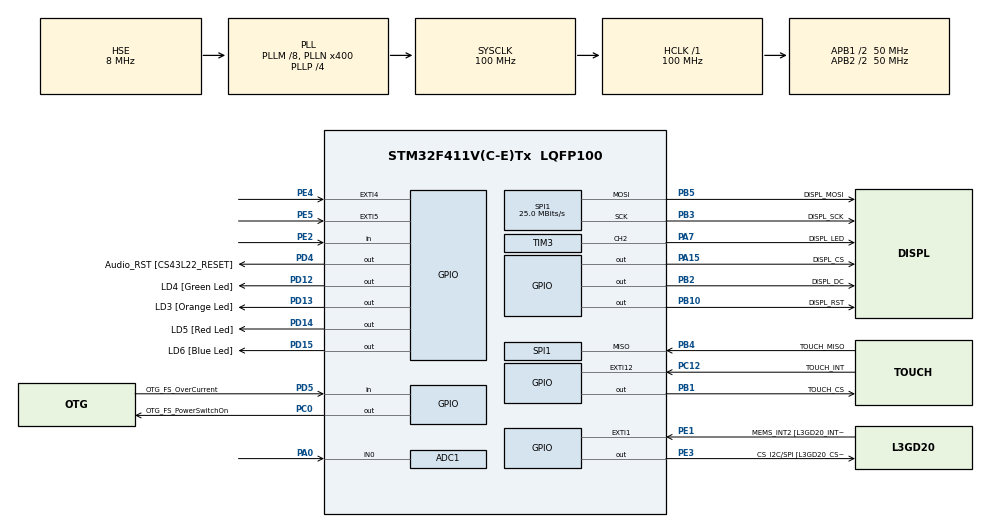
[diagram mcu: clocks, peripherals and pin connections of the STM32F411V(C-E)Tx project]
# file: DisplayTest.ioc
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ADC1.Channel-0\#ChannelRegularConversion=ADC_CHANNEL_0
ADC1.DMAContinuousRequests=ENABLE
ADC1.ExternalTrigConv=ADC_EXTERNALTRIGCONV_T2_TRGO
ADC1.NbrOfConversionFlag=1
ADC1.Rank-0\#ChannelRegularConversion=1
ADC1.SamplingTime-0\#ChannelRegularConversion=ADC_SAMPLETIME_3CYCLES
ADC1.master=1
Dma.ADC1.1.Direction=DMA_PERIPH_TO_MEMORY
Dma.ADC1.1.FIFOMode=DMA_FIFOMODE_DISABLE
Dma.ADC1.1.Instance=DMA2_Stream0
Dma.ADC1.1.MemDataAlignment=DMA_MDATAALIGN_HALFWORD
Dma.ADC1.1.MemInc=DMA_MINC_ENABLE
Dma.ADC1.1.Mode=DMA_NORMAL
Dma.ADC1.1.PeriphDataAlignment=DMA_PDATAALIGN_HALFWORD
Dma.ADC1.1.PeriphInc=DMA_PINC_DISABLE
Dma.ADC1.1.Priority=DMA_PRIORITY_HIGH
Dma.Request0=SPI1_TX
Dma.Request1=ADC1
Dma.SPI1_TX.0.Direction=DMA_MEMORY_TO_PERIPH
Dma.SPI1_TX.0.FIFOMode=DMA_FIFOMODE_DISABLE
Dma.SPI1_TX.0.Instance=DMA2_Stream2
Dma.SPI1_TX.0.MemDataAlignment=DMA_MDATAALIGN_BYTE
Dma.SPI1_TX.0.MemInc=DMA_MINC_ENABLE
Dma.SPI1_TX.0.Mode=DMA_NORMAL
Dma.SPI1_TX.0.PeriphDataAlignment=DMA_PDATAALIGN_BYTE
Dma.SPI1_TX.0.PeriphInc=DMA_PINC_DISABLE
Dma.SPI1_TX.0.Priority=DMA_PRIORITY_VERY_HIGH
Mcu.Family=STM32F4
Mcu.Name=STM32F411V(C-E)Tx
Mcu.Package=LQFP100
NVIC.ADC_IRQn=true\:0\:0\:false\:false\:true\:true\:true\:true
NVIC.DMA2_Stream0_IRQn=true\:0\:0\:false\:false\:true\:false\:true\:true
NVIC.DMA2_Stream2_IRQn=true\:0\:0\:false\:false\:true\:false\:true\:true
NVIC.EXTI15_10_IRQn=true\:0\:0\:true\:false\:true\:true\:true\:true
NVIC.PriorityGroup=NVIC_PRIORITYGROUP_0
NVIC.SPI1_IRQn=true\:0\:0\:false\:false\:true\:true\:true\:true
NVIC.TIM2_IRQn=true\:0\:0\:false\:false\:true\:true\:true\:true
NVIC.TIM3_IRQn=true\:0\:0\:false\:false\:true\:true\:true\:true
PA0-WKUP.Signal=ADCx_IN0
PA10.GPIO_Label=OTG_FS_ID
PA10.Signal=USB_OTG_FS_ID
PA11.GPIO_Label=OTG_FS_DM
PA11.Signal=USB_OTG_FS_DM
PA13.GPIO_Label=SWDIO
PA13.Signal=SYS_JTMS-SWDIO
PA14.GPIO_Label=SWCLK
PA14.Signal=SYS_JTCK-SWCLK
PA15.GPIO_Label=DISPL_CS
PA15.GPIO_Speed=GPIO_SPEED_FREQ_HIGH
PA15.PinState=GPIO_PIN_SET
PA15.Signal=GPIO_Output
PA4.GPIO_Label=I2S3_WS [CS43L22_LRCK]
PA4.GPIO_Mode=GPIO_MODE_AF_PP
PA4.GPIO_PuPd=GPIO_NOPULL
PA4.GPIO_Speed=GPIO_SPEED_FREQ_LOW
PA4.Signal=I2S3_WS
PA7.GPIO_Label=DISPL_LED
PA7.Signal=S_TIM3_CH2
PA9.GPIO_Label=VBUS_FS
PA9.Signal=USB_OTG_FS_VBUS
PB1.GPIO_Label=TOUCH_CS
PB1.GPIO_Speed=GPIO_SPEED_FREQ_HIGH
PB1.PinState=GPIO_PIN_SET
PB1.Signal=GPIO_Output
PB10.GPIO_Label=DISPL_RST
PB10.Signal=GPIO_Output
PB12.Signal=I2S2_WS
PB2.GPIO_Label=DISPL_DC
PB2.GPIO_Speed=GPIO_SPEED_FREQ_HIGH
PB2.Signal=GPIO_Output
PB3.GPIO_Label=DISPL_SCK
PB3.Mode=Full_Duplex_Master
PB3.Signal=SPI1_SCK
PB4.GPIO_Label=TOUCH_MISO
PB4.Mode=Full_Duplex_Master
PB4.Signal=SPI1_MISO
PB5.GPIO_Label=DISPL_MOSI
PB5.Mode=Full_Duplex_Master
PB5.Signal=SPI1_MOSI
PB6.GPIO_Label=Audio_SCL [CS43L22_SCL]
PB6.GPIO_Mode=GPIO_MODE_AF_OD
PB6.GPIO_PuPd=GPIO_NOPULL
PB6.GPIO_Speed=GPIO_SPEED_FREQ_LOW
PB6.Signal=I2C1_SCL
PB9.GPIO_Label=Audio_SDA [CS43L22_SDA]
PB9.GPIO_Mode=GPIO_MODE_AF_OD
PB9.GPIO_PuPd=GPIO_NOPULL
PB9.GPIO_Speed=GPIO_SPEED_FREQ_LOW
PB9.Signal=I2C1_SDA
PC0.GPIO_Label=OTG_FS_PowerSwitchOn
PC0.PinState=GPIO_PIN_SET
PC0.Signal=GPIO_Output
PC10.GPIO_Label=I2S3_SCK [CS43L22_SCLK]
PC10.GPIO_Mode=GPIO_MODE_AF_PP
PC10.GPIO_PuPd=GPIO_NOPULL
PC10.GPIO_Speed=GPIO_SPEED_FREQ_LOW
PC10.Signal=I2S3_CK
PC12.GPIO_Label=TOUCH_INT
PC12.GPIO_ModeDefaultEXTI=GPIO_MODE_IT_FALLING
PC12.GPIO_PuPd=GPIO_PULLUP
PC12.Signal=GPXTI12
PC14-OSC32_IN.GPIO_Label=PC14-OSC32_IN
PC14-OSC32_IN.Signal=RCC_OSC32_IN
PC15-OSC32_OUT.GPIO_Label=PC15-OSC32_OUT
PC15-OSC32_OUT.Signal=RCC_OSC32_OUT
PC3.GPIO_Label=PDM_OUT [MP45DT02_DOUT]
PC3.Signal=I2S2_SD
PC7.GPIO_Label=I2S3_MCK [CS43L22_MCLK]
PC7.GPIO_Mode=GPIO_MODE_AF_PP
PC7.GPIO_PuPd=GPIO_NOPULL
PC7.GPIO_Speed=GPIO_SPEED_FREQ_LOW
PC7.Signal=I2S3_MCK
PD12.GPIO_Label=LD4 [Green Led]
PD12.GPIO_PuPd=GPIO_NOPULL
PD12.GPIO_Speed=GPIO_SPEED_FREQ_LOW
PD12.Signal=GPIO_Output
PD13.GPIO_Label=LD3 [Orange Led]
PD13.GPIO_PuPd=GPIO_NOPULL
PD13.GPIO_Speed=GPIO_SPEED_FREQ_LOW
PD13.Signal=GPIO_Output
PD14.GPIO_Label=LD5 [Red Led]
PD14.GPIO_PuPd=GPIO_NOPULL
PD14.GPIO_Speed=GPIO_SPEED_FREQ_LOW
PD14.Signal=GPIO_Output
PD15.GPIO_Label=LD6 [Blue Led]
PD15.GPIO_PuPd=GPIO_NOPULL
PD15.GPIO_Speed=GPIO_SPEED_FREQ_LOW
PD15.Signal=GPIO_Output
PD4.GPIO_Label=Audio_RST [CS43L22_RESET]
PD4.Signal=GPIO_Output
PD5.GPIO_Label=OTG_FS_OverCurrent
PD5.Signal=GPIO_Input
PE1.GPIO_Label=MEMS_INT2 [L3GD20_INT2]
PE1.GPIO_ModeDefaultEXTI=GPIO_MODE_EVT_RISING
PE1.Signal=GPXTI1
PE2.Signal=GPIO_Input
PE3.GPIO_Label=CS_I2C/SPI [L3GD20_CS_I2C/SPI]
PE3.Signal=GPIO_Output
PE4.GPIO_ModeDefaultEXTI=GPIO_MODE_EVT_RISING
PE4.Signal=GPXTI4
PE5.GPIO_ModeDefaultEXTI=GPIO_MODE_EVT_RISING
PE5.Signal=GPXTI5
PH0\ -\ OSC_IN.GPIO_Label=PH0-OSC_IN
PH0\ -\ OSC_IN.Mode=HSE-External-Oscillator
PH0\ -\ OSC_IN.Signal=RCC_OSC_IN
PH1\ -\ OSC_OUT.GPIO_Label=PH1-OSC_OUT
PH1\ -\ OSC_OUT.Mode=HSE-External-Oscillator
PH1\ -\ OSC_OUT.Signal=RCC_OSC_OUT
ProjectManager.HeapSize=0x200
ProjectManager.StackSize=0x400
ProjectManager.TargetToolchain=STM32CubeIDE
RCC.48MHZClocksFreq_Value=50000000
RCC.AHBFreq_Value=100000000
RCC.APB1CLKDivider=RCC_HCLK_DIV2
RCC.APB1Freq_Value=50000000
RCC.APB1TimFreq_Value=100000000
RCC.APB2CLKDivider=RCC_HCLK_DIV2
RCC.APB2Freq_Value=50000000
RCC.APB2TimFreq_Value=100000000
RCC.CortexFreq_Value=100000000
RCC.HCLKFreq_Value=100000000
RCC.HSE_VALUE=8000000
RCC.HSI_VALUE=16000000
RCC.LSE_VALUE=32768
RCC.PLLI2SM=5
RCC.PLLI2SN=200
RCC.PLLM=8
RCC.PLLN=400
RCC.PLLP=RCC_PLLP_DIV4
RCC.PLLQ=8
RCC.PLLSourceVirtual=RCC_PLLSOURCE_HSE
RCC.SYSCLKFreq_VALUE=100000000
RCC.SYSCLKSource=RCC_SYSCLKSOURCE_PLLCLK
RCC.VCOOutputFreq_Value=400000000
SH.ADCx_IN0.0=ADC1_IN0,IN0
SH.S_TIM3_CH2.0=TIM3_CH2,PWM Generation2 CH2
SPI1.CalculateBaudRate=25.0 MBits/s
SPI1.Direction=SPI_DIRECTION_2LINES
SPI1.Mode=SPI_MODE_MASTER
SPI1.VirtualType=VM_MASTER
STMicroelectronics.X-CUBE-TOUCHGFX.4.26.0.tgfx_buffering_strategy=Single
STMicroelectronics.X-CUBE-TOUCHGFX.4.26.0.tgfx_custom_height=480
STMicroelectronics.X-CUBE-TOUCHGFX.4.26.0.tgfx_custom_width=320
STMicroelectronics.X-CUBE-TOUCHGFX.4.26.0_IsPackSelfContextualization=true
TIM2.Period=159
TIM2.Prescaler=83
TIM2.TIM_MasterOutputTrigger=TIM_TRGO_UPDATE
TIM3.Channel-PWM\ Generation2\ CH2=TIM_CHANNEL_2
TIM3.Period=100
TIM3.Prescaler=10000
VP_CRC_VS_CRC.Mode=CRC_Activate
VP_TIM2_VS_ClockSourceINT.Mode=Internal
board=STM32F411E-DISCO

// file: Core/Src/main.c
/* USER CODE BEGIN Header */
/**
  ******************************************************************************
  * @file           : main.c
  * @brief          : Main program body
  ******************************************************************************
  * @attention
  *
  * Copyright (c) 2025 STMicroelectronics.
  * All rights reserved.
  *
  * This software is licensed under terms that can be found in the LICENSE file
  * in the root directory of this software component.
  * If no LICENSE file comes with this software, it is provided AS-IS.
  *
  ******************************************************************************
  */
/* USER CODE END Header */
#include "main.h"

/* USER CODE BEGIN Includes */
#include "math.h"
/* USER CODE END Includes */

ADC_HandleTypeDef hadc1;
DMA_HandleTypeDef hdma_adc1;

CRC_HandleTypeDef hcrc;

SPI_HandleTypeDef hspi1;
DMA_HandleTypeDef hdma_spi1_tx;

TIM_HandleTypeDef htim2;
TIM_HandleTypeDef htim3;

void SystemClock_Config(void);
static void MX_GPIO_Init(void);
static void MX_DMA_Init(void);
static void MX_SPI1_Init(void);
static void MX_CRC_Init(void);
static void MX_TIM3_Init(void);
static void MX_TIM2_Init(void);
static void MX_ADC1_Init(void);

/* USER CODE BEGIN 0 */
/* USER CODE BEGIN 0 */
extern uint8_t needs_full_redraw;
// Sample rate: 1ms per sample = 1000 Hz
#define SAMPLE_RATE 1000.0f
#define TWO_PI 6.28318530718f

// Test signal generator function - IMPROVED VERSION
float OSC_GenerateTestSignal(uint16_t index, uint8_t signal_type) {
    float t = (float)index / SAMPLE_RATE;  // Time in seconds
    float voltage = 1.65f; // Ground reference (adjust via GND button if needed)

    switch(signal_type) {
        case 0: // Pure Sine Wave - 10Hz
        {
            float freq = 10.0f;
            voltage = 1.65f + 0.8f * sinf(TWO_PI * freq * t);
        }
        break;

        case 1: // Square Wave - 10Hz, 50% duty cycle
        {
            float period_ms = 100.0f;  // 10Hz = 100ms period
            float phase = fmodf((float)index, period_ms);
            voltage = (phase < (period_ms / 2.0f)) ? 2.5f : 0.8f;
        }
        break;

        case 2: // Triangle Wave - 10Hz
        {
            float freq = 10.0f;
            float period_samples = SAMPLE_RATE / freq;
            float phase = fmodf((float)index, period_samples);

            if(phase < period_samples / 2.0f) {
                // Rising edge
                voltage = 1.25f + (phase / (period_samples / 2.0f)) * 0.8f;
            } else {
                // Falling edge
                voltage = 2.05f - ((phase - period_samples / 2.0f) / (period_samples / 2.0f)) * 0.8f;
            }
        }
        break;

        case 3: // Sawtooth Wave - 10Hz
        {
            float freq = 10.0f;
            float period_samples = SAMPLE_RATE / freq;
            float phase = fmodf((float)index, period_samples);
            voltage = 0.8f + (phase / period_samples) * 1.7f;
        }
        break;

        case 4: // Pulse (Digital) - 5Hz, 10% duty
        {
            float period_ms = 200.0f;  // 5Hz = 200ms period
            float phase = fmodf((float)index, period_ms);
            voltage = (phase < 20.0f) ? 3.0f : 0.5f;
        }
        break;

        case 5: // Complex Waveform (Fundamental + 2nd & 3rd Harmonic)
        {
            float freq = 10.0f;
            voltage = 1.65f +
                      0.5f * sinf(TWO_PI * freq * t) +           // Fundamental
                      0.2f * sinf(TWO_PI * freq * 2.0f * t) +    // 2nd harmonic
                      0.1f * sinf(TWO_PI * freq * 3.0f * t);     // 3rd harmonic
        }
        break;

        case 6: // Noisy Sine - 10Hz with ±0.1V noise
        {
            float freq = 10.0f;
            float noise = ((rand() % 200) - 100) / 1000.0f;  // ±0.1V
            voltage = 1.65f + 0.8f * sinf(TWO_PI * freq * t) + noise;
        }
        break;

        case 7: // Exponential Decay (RC Circuit Simulation) - 5Hz
        {
            float period_ms = 200.0f;  // 5Hz
            float phase = fmodf((float)index, period_ms);

            if(phase < 5.0f) {
                // Short charge-up pulse
                voltage = 3.0f;
            } else {
                // Exponential decay (tau = 30ms)
                float decay_time = phase - 5.0f;
                voltage = 3.0f * expf(-decay_time / 30.0f);
            }
        }
        break;

        case 8: // PWM Signal - 1kHz, 25% duty (NEW!)
        {
            float period_ms = 1.0f;  // 1kHz
            float phase = fmodf((float)index, period_ms);
            voltage = (phase < 0.25f) ? 3.0f : 0.5f;
        }
        break;

        case 9: // Slow Ramp - 1Hz (NEW!)
        {
            float period_samples = SAMPLE_RATE * 1.0f;  // 1 second
            float phase = fmodf((float)index, period_samples);
            voltage = 0.5f + (phase / period_samples) * 2.5f;
        }
        break;

        default:
            voltage = 1.65f;  // DC level at ground
            break;
    }

    // Clamp to valid ADC range (0V to 3.3V)
    if(voltage < 0.0f) voltage = 0.0f;
    if(voltage > 3.3f) voltage = 3.3f;

    return voltage;
}

void OSC_DMA_ForceCircular(void)
{
    // Ensure DMA is in circular mode
    hdma_adc1.Init.Mode = DMA_CIRCULAR;
    if (HAL_DMA_Init(&hdma_adc1) != HAL_OK)
    {
        Error_Handler();
    }
    __HAL_LINKDMA(&hadc1, DMA_Handle, hdma_adc1);
}

#include "core_cm4.h"   // usually pulled in via stm32f4xx.h already, but harmless

void Timestamp_Init(void)
{
    // Enable DWT cycle counter
    CoreDebug->DEMCR |= CoreDebug_DEMCR_TRCENA_Msk;
    DWT->CYCCNT = 0;
    DWT->CTRL |= DWT_CTRL_CYCCNTENA_Msk;
}

/* USER CODE END 0 */

int main(void)
{

  /* MCU Configuration--------------------------------------------------------*/

  /* Reset of all peripherals, Initializes the Flash interface and the Systick. */
  HAL_Init();

  /* Configure the system clock */
  SystemClock_Config();

  Timestamp_Init();

  /* Initialize all configured peripherals */
  MX_GPIO_Init();
  MX_DMA_Init();
  MX_SPI1_Init();
  MX_CRC_Init();
  MX_TIM3_Init();
  MX_TIM2_Init();
  MX_ADC1_Init();
  /* USER CODE BEGIN 2 */
  OSC_DMA_ForceCircular();
//  HAL_TIM_Base_Start_IT(&htim2);
  Displ_Init(Displ_Orientat_90);			// initialize display controller - set orientation parameter as per TouchGFX setup
//  touchgfxSignalVSync();					// ask display syncronization
  Displ_BackLight('I');  					// initialize backlight
//  Displ_FillArea(0, 0, 10, 10, RED);
//  HAL_Delay(1000);
//  Displ_TestAll ();
//  Test_TouchInterrupt();
//  	Test_TouchSPI();
//  Touch_ShowData();
//  Touch_TestCalibration();
//  Touch_TestCalibration_Landscape();
//  Touch_TestDrawing();
//  Read_Raw_Touch_Values();
//  Verify_Touch_Calibration();
//  Displ_Init(Displ_Orientat_90);  // Landscape
  OSCP_Init();
  OSC_ADC_Init();
  OSCP_DrawUI();
  OSC_ADC_StartSampling(DEFAULT_SAMPLE_RATE_KHZ);
  // Start ADC using DMA
//  HAL_ADC_Start_DMA(&hadc1, (uint32_t*)oscPro.adc_buffer.raw, SAMPLES);

  // Start TIM4 (TRGO)
//  HAL_TIM_Base_Start(&htim2);
//  uint32_t sample_timer = HAL_GetTick();
//  uint16_t sample_index = 0;
//  uint8_t signal_type = 0;  // Change 0-9 to select different test signals
//  uint32_t last_signal_change = HAL_GetTick();
//  uint8_t auto_cycle = 0;  // Set to 1 to auto-cycle through signals every 5 seconds
//  OSC_ADC_StartSampling(DEFAULT_SAMPLE_RATE_KHZ);
//  Displ_PerfTest();
  /* USER CODE END 2 */

  /* Infinite loop */
  /* USER CODE BEGIN WHILE */
  while (1)
  {	    // Auto-cycle through signal types (optional)
	    // Check for touch input
	    OSCP_Update();

	    // Handle touch input
	    if(Touch_GotATouch(1)) {
	        uint16_t x, y;
	        uint8_t touched;
	        Touch_GetXYtouch(&x, &y, &touched);

	        if(touched) {
	            OSCP_HandleTouch(x, y);
	        }
	    }
	    HAL_Delay(10);  // Small delay to prevent CPU overload

	    // Small delay to prevent overwhelming the system
//	    HAL_Delay(10);
//	    if(auto_cycle && (HAL_GetTick() - last_signal_change) > 5000) {
//	        signal_type = (signal_type + 1) % 10;
//	        last_signal_change = HAL_GetTick();
//	    }
//
//	    // Generate test signal at 1ms intervals
//	    if((HAL_GetTick() - sample_timer) >= 1) {
//	        sample_timer = HAL_GetTick();
//
//	        float voltage = OSC_GenerateTestSignal(sample_index, signal_type);
//	        OSCP_AddSample(voltage);
//
//	        sample_index++;
//	        if(sample_index >= 10000) sample_index = 0;  // Reset every 10 seconds
//	    }
//
//	    // Touch handling
//	    uint16_t tx, ty;
//	    uint8_t touched;
//	    Touch_GetXYtouch(&tx, &ty, &touched);
//
//	    if(touched) {
//	        OSCP_HandleTouch(tx, ty);
//	        HAL_Delay(200);  // Debounce
//	    }
//
//	    // Update oscilloscope display
//	    OSCP_Update();
//
//	    HAL_Delay(1);
    /* USER CODE END WHILE */

  }
}

void SystemClock_Config(void)
{
  RCC_OscInitTypeDef RCC_OscInitStruct = {0};
  RCC_ClkInitTypeDef RCC_ClkInitStruct = {0};

  /** Configure the main internal regulator output voltage
  */
  __HAL_RCC_PWR_CLK_ENABLE();
  __HAL_PWR_VOLTAGESCALING_CONFIG(PWR_REGULATOR_VOLTAGE_SCALE1);

  /** Initializes the RCC Oscillators according to the specified parameters
  * in the RCC_OscInitTypeDef structure.
  */
  RCC_OscInitStruct.OscillatorType = RCC_OSCILLATORTYPE_HSE;
  RCC_OscInitStruct.HSEState = RCC_HSE_ON;
  RCC_OscInitStruct.PLL.PLLState = RCC_PLL_ON;
  RCC_OscInitStruct.PLL.PLLSource = RCC_PLLSOURCE_HSE;
  RCC_OscInitStruct.PLL.PLLM = 8;
  RCC_OscInitStruct.PLL.PLLN = 400;
  RCC_OscInitStruct.PLL.PLLP = RCC_PLLP_DIV4;
  RCC_OscInitStruct.PLL.PLLQ = 8;
  if (HAL_RCC_OscConfig(&RCC_OscInitStruct) != HAL_OK)
  {
    Error_Handler();
  }

  /** Initializes the CPU, AHB and APB buses clocks
  */
  RCC_ClkInitStruct.ClockType = RCC_CLOCKTYPE_HCLK|RCC_CLOCKTYPE_SYSCLK
                              |RCC_CLOCKTYPE_PCLK1|RCC_CLOCKTYPE_PCLK2;
  RCC_ClkInitStruct.SYSCLKSource = RCC_SYSCLKSOURCE_PLLCLK;
  RCC_ClkInitStruct.AHBCLKDivider = RCC_SYSCLK_DIV1;
  RCC_ClkInitStruct.APB1CLKDivider = RCC_HCLK_DIV2;
  RCC_ClkInitStruct.APB2CLKDivider = RCC_HCLK_DIV2;

  if (HAL_RCC_ClockConfig(&RCC_ClkInitStruct, FLASH_LATENCY_3) != HAL_OK)
  {
    Error_Handler();
  }
}

static void MX_ADC1_Init(void)
{

  ADC_ChannelConfTypeDef sConfig = {0};

  /** Configure the global features of the ADC (Clock, Resolution, Data Alignment and number of conversion)
  */
  hadc1.Instance = ADC1;
  hadc1.Init.ClockPrescaler = ADC_CLOCK_SYNC_PCLK_DIV2;
  hadc1.Init.Resolution = ADC_RESOLUTION_12B;
  hadc1.Init.ScanConvMode = DISABLE;
  hadc1.Init.ContinuousConvMode = DISABLE;
  hadc1.Init.DiscontinuousConvMode = DISABLE;
  hadc1.Init.ExternalTrigConvEdge = ADC_EXTERNALTRIGCONVEDGE_RISING;
  hadc1.Init.ExternalTrigConv = ADC_EXTERNALTRIGCONV_T2_TRGO;
  hadc1.Init.DataAlign = ADC_DATAALIGN_RIGHT;
  hadc1.Init.NbrOfConversion = 1;
  hadc1.Init.DMAContinuousRequests = ENABLE;
  hadc1.Init.EOCSelection = ADC_EOC_SINGLE_CONV;
  if (HAL_ADC_Init(&hadc1) != HAL_OK)
  {
    Error_Handler();
  }

  /** Configure for the selected ADC regular channel its corresponding rank in the sequencer and its sample time.
  */
  sConfig.Channel = ADC_CHANNEL_0;
  sConfig.Rank = 1;
  sConfig.SamplingTime = ADC_SAMPLETIME_3CYCLES;
  if (HAL_ADC_ConfigChannel(&hadc1, &sConfig) != HAL_OK)
  {
    Error_Handler();
  }

}

static void MX_CRC_Init(void)
{

  hcrc.Instance = CRC;
  if (HAL_CRC_Init(&hcrc) != HAL_OK)
  {
    Error_Handler();
  }

}

static void MX_SPI1_Init(void)
{

  /* SPI1 parameter configuration*/
  hspi1.Instance = SPI1;
  hspi1.Init.Mode = SPI_MODE_MASTER;
  hspi1.Init.Direction = SPI_DIRECTION_2LINES;
  hspi1.Init.DataSize = SPI_DATASIZE_8BIT;
  hspi1.Init.CLKPolarity = SPI_POLARITY_LOW;
  hspi1.Init.CLKPhase = SPI_PHASE_1EDGE;
  hspi1.Init.NSS = SPI_NSS_SOFT;
  hspi1.Init.BaudRatePrescaler = SPI_BAUDRATEPRESCALER_2;
  hspi1.Init.FirstBit = SPI_FIRSTBIT_MSB;
  hspi1.Init.TIMode = SPI_TIMODE_DISABLE;
  hspi1.Init.CRCCalculation = SPI_CRCCALCULATION_DISABLE;
  hspi1.Init.CRCPolynomial = 10;
  if (HAL_SPI_Init(&hspi1) != HAL_OK)
  {
    Error_Handler();
  }

}

static void MX_TIM2_Init(void)
{

  TIM_ClockConfigTypeDef sClockSourceConfig = {0};
  TIM_MasterConfigTypeDef sMasterConfig = {0};

  htim2.Instance = TIM2;
  htim2.Init.Prescaler = 83;
  htim2.Init.CounterMode = TIM_COUNTERMODE_UP;
  htim2.Init.Period = 159;
  htim2.Init.ClockDivision = TIM_CLOCKDIVISION_DIV1;
  htim2.Init.AutoReloadPreload = TIM_AUTORELOAD_PRELOAD_DISABLE;
  if (HAL_TIM_Base_Init(&htim2) != HAL_OK)
  {
    Error_Handler();
  }
  sClockSourceConfig.ClockSource = TIM_CLOCKSOURCE_INTERNAL;
  if (HAL_TIM_ConfigClockSource(&htim2, &sClockSourceConfig) != HAL_OK)
  {
    Error_Handler();
  }
  sMasterConfig.MasterOutputTrigger = TIM_TRGO_UPDATE;
  sMasterConfig.MasterSlaveMode = TIM_MASTERSLAVEMODE_DISABLE;
  if (HAL_TIMEx_MasterConfigSynchronization(&htim2, &sMasterConfig) != HAL_OK)
  {
    Error_Handler();
  }

}

static void MX_TIM3_Init(void)
{

  TIM_MasterConfigTypeDef sMasterConfig = {0};
  TIM_OC_InitTypeDef sConfigOC = {0};

  htim3.Instance = TIM3;
  htim3.Init.Prescaler = 10000;
  htim3.Init.CounterMode = TIM_COUNTERMODE_UP;
  htim3.Init.Period = 100;
  htim3.Init.ClockDivision = TIM_CLOCKDIVISION_DIV1;
  htim3.Init.AutoReloadPreload = TIM_AUTORELOAD_PRELOAD_DISABLE;
  if (HAL_TIM_PWM_Init(&htim3) != HAL_OK)
  {
    Error_Handler();
  }
  sMasterConfig.MasterOutputTrigger = TIM_TRGO_RESET;
  sMasterConfig.MasterSlaveMode = TIM_MASTERSLAVEMODE_DISABLE;
  if (HAL_TIMEx_MasterConfigSynchronization(&htim3, &sMasterConfig) != HAL_OK)
  {
    Error_Handler();
  }
  sConfigOC.OCMode = TIM_OCMODE_PWM1;
  sConfigOC.Pulse = 0;
  sConfigOC.OCPolarity = TIM_OCPOLARITY_HIGH;
  sConfigOC.OCFastMode = TIM_OCFAST_DISABLE;
  if (HAL_TIM_PWM_ConfigChannel(&htim3, &sConfigOC, TIM_CHANNEL_2) != HAL_OK)
  {
    Error_Handler();
  }
  HAL_TIM_MspPostInit(&htim3);

}

static void MX_DMA_Init(void)
{

  /* DMA controller clock enable */
  __HAL_RCC_DMA2_CLK_ENABLE();

  /* DMA interrupt init */
  /* DMA2_Stream0_IRQn interrupt configuration */
  HAL_NVIC_SetPriority(DMA2_Stream0_IRQn, 0, 0);
  HAL_NVIC_EnableIRQ(DMA2_Stream0_IRQn);
  /* DMA2_Stream2_IRQn interrupt configuration */
  HAL_NVIC_SetPriority(DMA2_Stream2_IRQn, 0, 0);
  HAL_NVIC_EnableIRQ(DMA2_Stream2_IRQn);

}

static void MX_GPIO_Init(void)
{
  GPIO_InitTypeDef GPIO_InitStruct = {0};

  /* GPIO Ports Clock Enable */
  __HAL_RCC_GPIOE_CLK_ENABLE();
  __HAL_RCC_GPIOC_CLK_ENABLE();
  __HAL_RCC_GPIOH_CLK_ENABLE();
  __HAL_RCC_GPIOA_CLK_ENABLE();
  __HAL_RCC_GPIOB_CLK_ENABLE();
  __HAL_RCC_GPIOD_CLK_ENABLE();

  /*Configure GPIO pin Output Level */
  HAL_GPIO_WritePin(CS_I2C_SPI_GPIO_Port, CS_I2C_SPI_Pin, GPIO_PIN_RESET);

  /*Configure GPIO pin Output Level */
  HAL_GPIO_WritePin(OTG_FS_PowerSwitchOn_GPIO_Port, OTG_FS_PowerSwitchOn_Pin, GPIO_PIN_SET);

  /*Configure GPIO pin Output Level */
  HAL_GPIO_WritePin(TOUCH_CS_GPIO_Port, TOUCH_CS_Pin, GPIO_PIN_SET);

  /*Configure GPIO pin Output Level */
  HAL_GPIO_WritePin(GPIOB, DISPL_DC_Pin|DISPL_RST_Pin, GPIO_PIN_RESET);

  /*Configure GPIO pin Output Level */
  HAL_GPIO_WritePin(GPIOD, LD4_Pin|LD3_Pin|LD5_Pin|LD6_Pin
                          |Audio_RST_Pin, GPIO_PIN_RESET);

  /*Configure GPIO pin Output Level */
  HAL_GPIO_WritePin(DISPL_CS_GPIO_Port, DISPL_CS_Pin, GPIO_PIN_SET);

  /*Configure GPIO pin : PE2 */
  GPIO_InitStruct.Pin = GPIO_PIN_2;
  GPIO_InitStruct.Mode = GPIO_MODE_INPUT;
  GPIO_InitStruct.Pull = GPIO_NOPULL;
  HAL_GPIO_Init(GPIOE, &GPIO_InitStruct);

  /*Configure GPIO pin : CS_I2C_SPI_Pin */
  GPIO_InitStruct.Pin = CS_I2C_SPI_Pin;
  GPIO_InitStruct.Mode = GPIO_MODE_OUTPUT_PP;
  GPIO_InitStruct.Pull = GPIO_NOPULL;
  GPIO_InitStruct.Speed = GPIO_SPEED_FREQ_LOW;
  HAL_GPIO_Init(CS_I2C_SPI_GPIO_Port, &GPIO_InitStruct);

  /*Configure GPIO pins : PE4 PE5 MEMS_INT2_Pin */
  GPIO_InitStruct.Pin = GPIO_PIN_4|GPIO_PIN_5|MEMS_INT2_Pin;
  GPIO_InitStruct.Mode = GPIO_MODE_EVT_RISING;
  GPIO_InitStruct.Pull = GPIO_NOPULL;
  HAL_GPIO_Init(GPIOE, &GPIO_InitStruct);

  /*Configure GPIO pin : OTG_FS_PowerSwitchOn_Pin */
  GPIO_InitStruct.Pin = OTG_FS_PowerSwitchOn_Pin;
  GPIO_InitStruct.Mode = GPIO_MODE_OUTPUT_PP;
  GPIO_InitStruct.Pull = GPIO_NOPULL;
  GPIO_InitStruct.Speed = GPIO_SPEED_FREQ_LOW;
  HAL_GPIO_Init(OTG_FS_PowerSwitchOn_GPIO_Port, &GPIO_InitStruct);

  /*Configure GPIO pin : PDM_OUT_Pin */
  GPIO_InitStruct.Pin = PDM_OUT_Pin;
  GPIO_InitStruct.Mode = GPIO_MODE_AF_PP;
  GPIO_InitStruct.Pull = GPIO_NOPULL;
  GPIO_InitStruct.Speed = GPIO_SPEED_FREQ_LOW;
  GPIO_InitStruct.Alternate = GPIO_AF5_SPI2;
  HAL_GPIO_Init(PDM_OUT_GPIO_Port, &GPIO_InitStruct);

  /*Configure GPIO pin : I2S3_WS_Pin */
  GPIO_InitStruct.Pin = I2S3_WS_Pin;
  GPIO_InitStruct.Mode = GPIO_MODE_AF_PP;
  GPIO_InitStruct.Pull = GPIO_NOPULL;
  GPIO_InitStruct.Speed = GPIO_SPEED_FREQ_LOW;
  GPIO_InitStruct.Alternate = GPIO_AF6_SPI3;
  HAL_GPIO_Init(I2S3_WS_GPIO_Port, &GPIO_InitStruct);

  /*Configure GPIO pins : TOUCH_CS_Pin DISPL_DC_Pin */
  GPIO_InitStruct.Pin = TOUCH_CS_Pin|DISPL_DC_Pin;
  GPIO_InitStruct.Mode = GPIO_MODE_OUTPUT_PP;
  GPIO_InitStruct.Pull = GPIO_NOPULL;
  GPIO_InitStruct.Speed = GPIO_SPEED_FREQ_HIGH;
  HAL_GPIO_Init(GPIOB, &GPIO_InitStruct);

  /*Configure GPIO pin : DISPL_RST_Pin */
  GPIO_InitStruct.Pin = DISPL_RST_Pin;
  GPIO_InitStruct.Mode = GPIO_MODE_OUTPUT_PP;
  GPIO_InitStruct.Pull = GPIO_NOPULL;
  GPIO_InitStruct.Speed = GPIO_SPEED_FREQ_LOW;
  HAL_GPIO_Init(DISPL_RST_GPIO_Port, &GPIO_InitStruct);

  /*Configure GPIO pin : PB12 */
  GPIO_InitStruct.Pin = GPIO_PIN_12;
  GPIO_InitStruct.Mode = GPIO_MODE_AF_PP;
  GPIO_InitStruct.Pull = GPIO_NOPULL;
  GPIO_InitStruct.Speed = GPIO_SPEED_FREQ_LOW;
  GPIO_InitStruct.Alternate = GPIO_AF5_SPI2;
  HAL_GPIO_Init(GPIOB, &GPIO_InitStruct);

  /*Configure GPIO pins : LD4_Pin LD3_Pin LD5_Pin LD6_Pin
                           Audio_RST_Pin */
  GPIO_InitStruct.Pin = LD4_Pin|LD3_Pin|LD5_Pin|LD6_Pin
                          |Audio_RST_Pin;
  GPIO_InitStruct.Mode = GPIO_MODE_OUTPUT_PP;
  GPIO_InitStruct.Pull = GPIO_NOPULL;
  GPIO_InitStruct.Speed = GPIO_SPEED_FREQ_LOW;
  HAL_GPIO_Init(GPIOD, &GPIO_InitStruct);

  /*Configure GPIO pins : I2S3_MCK_Pin I2S3_SCK_Pin */
  GPIO_InitStruct.Pin = I2S3_MCK_Pin|I2S3_SCK_Pin;
  GPIO_InitStruct.Mode = GPIO_MODE_AF_PP;
  GPIO_InitStruct.Pull = GPIO_NOPULL;
  GPIO_InitStruct.Speed = GPIO_SPEED_FREQ_LOW;
  GPIO_InitStruct.Alternate = GPIO_AF6_SPI3;
  HAL_GPIO_Init(GPIOC, &GPIO_InitStruct);

  /*Configure GPIO pin : VBUS_FS_Pin */
  GPIO_InitStruct.Pin = VBUS_FS_Pin;
  GPIO_InitStruct.Mode = GPIO_MODE_INPUT;
  GPIO_InitStruct.Pull = GPIO_NOPULL;
  HAL_GPIO_Init(VBUS_FS_GPIO_Port, &GPIO_InitStruct);

  /*Configure GPIO pins : OTG_FS_ID_Pin OTG_FS_DM_Pin */
  GPIO_InitStruct.Pin = OTG_FS_ID_Pin|OTG_FS_DM_Pin;
  GPIO_InitStruct.Mode = GPIO_MODE_AF_PP;
  GPIO_InitStruct.Pull = GPIO_NOPULL;
  GPIO_InitStruct.Speed = GPIO_SPEED_FREQ_VERY_HIGH;
  GPIO_InitStruct.Alternate = GPIO_AF10_OTG_FS;
  HAL_GPIO_Init(GPIOA, &GPIO_InitStruct);

  /*Configure GPIO pin : DISPL_CS_Pin */
  GPIO_InitStruct.Pin = DISPL_CS_Pin;
  GPIO_InitStruct.Mode = GPIO_MODE_OUTPUT_PP;
  GPIO_InitStruct.Pull = GPIO_NOPULL;
  GPIO_InitStruct.Speed = GPIO_SPEED_FREQ_HIGH;
  HAL_GPIO_Init(DISPL_CS_GPIO_Port, &GPIO_InitStruct);

  /*Configure GPIO pin : TOUCH_INT_Pin */
  GPIO_InitStruct.Pin = TOUCH_INT_Pin;
  GPIO_InitStruct.Mode = GPIO_MODE_IT_FALLING;
  GPIO_InitStruct.Pull = GPIO_PULLUP;
  HAL_GPIO_Init(TOUCH_INT_GPIO_Port, &GPIO_InitStruct);

  /*Configure GPIO pin : OTG_FS_OverCurrent_Pin */
  GPIO_InitStruct.Pin = OTG_FS_OverCurrent_Pin;
  GPIO_InitStruct.Mode = GPIO_MODE_INPUT;
  GPIO_InitStruct.Pull = GPIO_NOPULL;
  HAL_GPIO_Init(OTG_FS_OverCurrent_GPIO_Port, &GPIO_InitStruct);

  /*Configure GPIO pins : Audio_SCL_Pin Audio_SDA_Pin */
  GPIO_InitStruct.Pin = Audio_SCL_Pin|Audio_SDA_Pin;
  GPIO_InitStruct.Mode = GPIO_MODE_AF_OD;
  GPIO_InitStruct.Pull = GPIO_NOPULL;
  GPIO_InitStruct.Speed = GPIO_SPEED_FREQ_LOW;
  GPIO_InitStruct.Alternate = GPIO_AF4_I2C1;
  HAL_GPIO_Init(GPIOB, &GPIO_InitStruct);

  /* EXTI interrupt init*/
  HAL_NVIC_SetPriority(EXTI15_10_IRQn, 0, 0);
  HAL_NVIC_EnableIRQ(EXTI15_10_IRQn);

}

void Error_Handler(void)
{
  __disable_irq();
  while (1)
  {
  }
}
